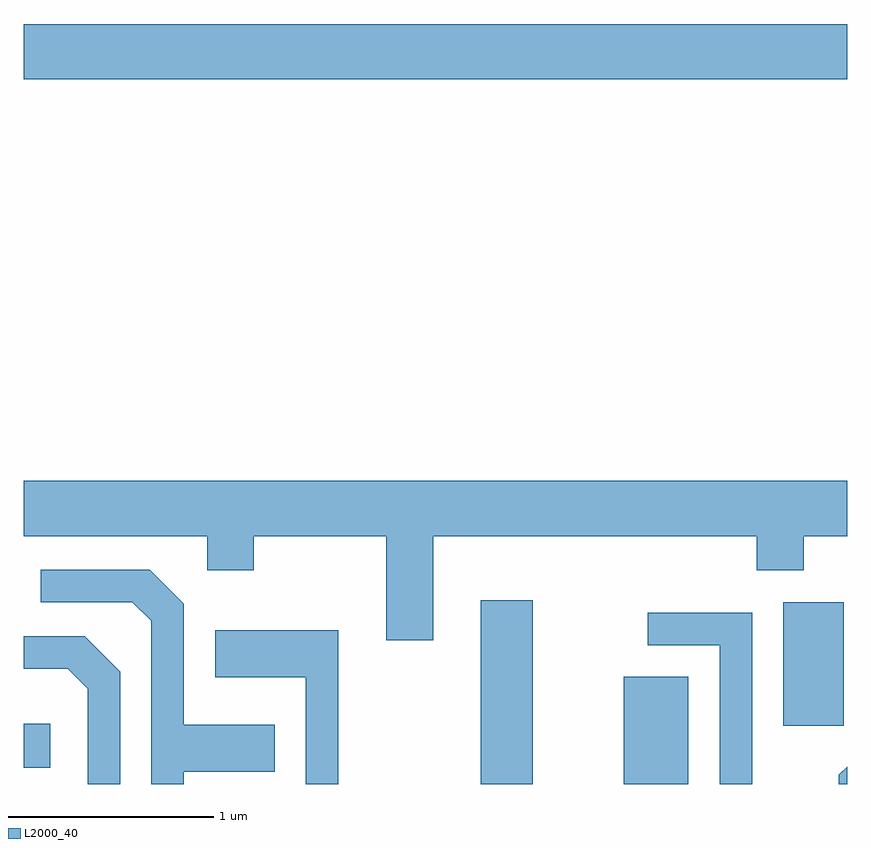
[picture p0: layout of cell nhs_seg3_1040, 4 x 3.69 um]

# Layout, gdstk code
import gdstk
lib = gdstk.Library(unit=1e-6, precision=1e-09)
def R(c, l, rs):  # rectangles x0, y0, x1, y1
    for r in rs: c.add(gdstk.rectangle(r[:2], r[2:], *l))
def P(c, l, *ps):  # polygons
    for p in ps: c.add(gdstk.Polygon(p, *l))
L2000_40 = (2000, 40)

nhs_seg3_1040 = lib.new_cell('nhs_seg3_1040')
R(nhs_seg3_1040, L2000_40, [(217.831,1155.892,218.084,1156.784), (218.526,1155.892,218.839,1156.414), (215.611,1155.971,215.739,1156.184), (219.301,1156.176,219.594,1156.774), (215.611,1159.316,219.611,1159.584)])
P(nhs_seg3_1040, L2000_40, [(217.599,1157.096),(219.171,1157.096),(219.171,1156.931),(219.399,1156.931),(219.399,1157.096),(219.611,1157.096),(219.611,1157.364),(215.611,1157.364),(215.611,1157.096),(216.501,1157.096),(216.501,1156.931),(216.729,1156.931),(216.729,1157.096),(217.371,1157.096),(217.371,1156.591),(217.599,1156.591)],
  [(216.389,1155.951),(216.829,1155.951),(216.829,1156.179),(216.389,1156.179),(216.389,1156.767),(216.222,1156.934),(215.693,1156.934),(215.693,1156.776),(216.139,1156.776),(216.231,1156.684),(216.231,1155.892),(216.389,1155.892)],
  [(219.149,1156.724),(218.643,1156.724),(218.643,1156.566),(218.991,1156.566),(218.991,1155.892),(219.149,1155.892)],
  [(217.139,1156.639),(216.541,1156.639),(216.541,1156.411),(216.981,1156.411),(216.981,1155.892),(217.139,1155.892)],
  [(216.079,1156.437),(215.907,1156.609),(215.611,1156.609),(215.611,1156.451),(215.824,1156.451),(215.921,1156.354),(215.921,1155.892),(216.079,1155.892)],
  [(219.611,1155.977),(219.571,1155.937),(219.571,1155.892),(219.611,1155.892)])

lib.write_gds('nhs_seg3_1040.gds')
